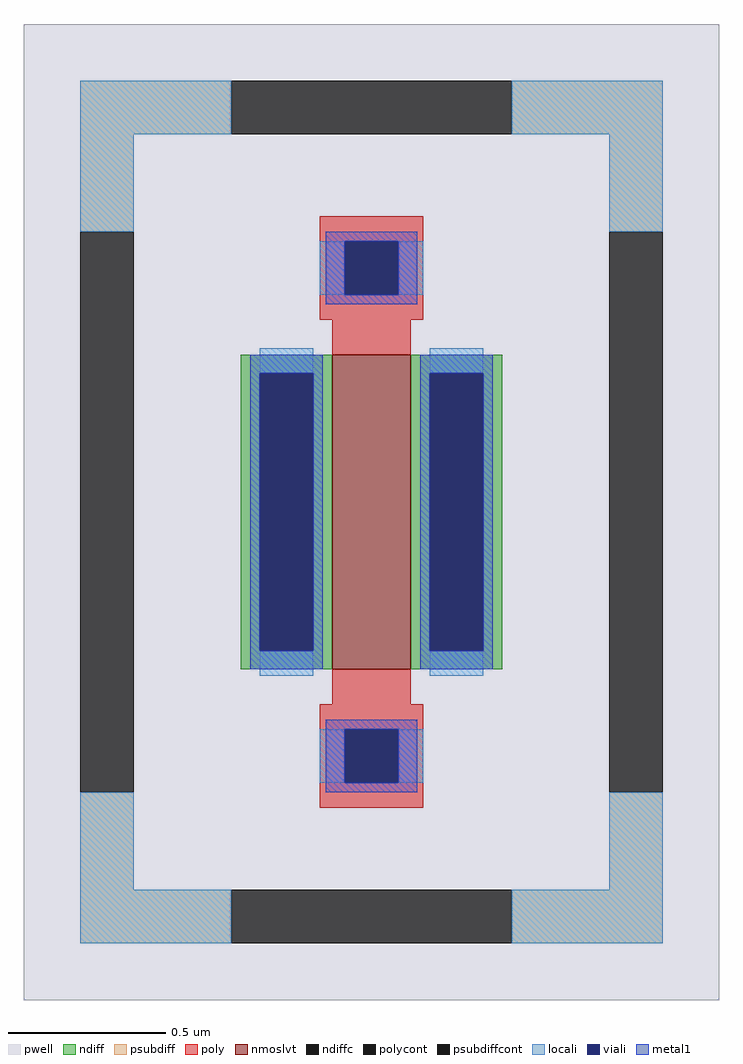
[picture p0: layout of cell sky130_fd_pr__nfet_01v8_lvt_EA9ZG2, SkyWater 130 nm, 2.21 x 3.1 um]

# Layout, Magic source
magic
tech sky130A
magscale 1 2
<< pwell >>
rect -221 -310 221 310
<< nmoslvt >>
rect -25 -100 25 100
<< ndiff >>
rect -83 88 -25 100
rect -83 -88 -71 88
rect -37 -88 -25 88
rect -83 -100 -25 -88
rect 25 88 83 100
rect 25 -88 37 88
rect 71 -88 83 88
rect 25 -100 83 -88
<< ndiffc >>
rect -71 -88 -37 88
rect 37 -88 71 88
<< psubdiff >>
rect -185 240 -89 274
rect 89 240 185 274
rect -185 178 -151 240
rect 151 178 185 240
rect -185 -240 -151 -178
rect 151 -240 185 -178
rect -185 -274 -89 -240
rect 89 -274 185 -240
<< psubdiffcont >>
rect -89 240 89 274
rect -185 -178 -151 178
rect 151 -178 185 178
rect -89 -274 89 -240
<< poly >>
rect -33 172 33 188
rect -33 138 -17 172
rect 17 138 33 172
rect -33 122 33 138
rect -25 100 25 122
rect -25 -122 25 -100
rect -33 -138 33 -122
rect -33 -172 -17 -138
rect 17 -172 33 -138
rect -33 -188 33 -172
<< polycont >>
rect -17 138 17 172
rect -17 -172 17 -138
<< locali >>
rect -185 240 -89 274
rect 89 240 185 274
rect -185 178 -151 240
rect 151 178 185 240
rect -33 138 -17 172
rect 17 138 33 172
rect -71 88 -37 104
rect -71 -104 -37 -88
rect 37 88 71 104
rect 37 -104 71 -88
rect -33 -172 -17 -138
rect 17 -172 33 -138
rect -185 -240 -151 -178
rect 151 -240 185 -178
rect -185 -274 -89 -240
rect 89 -274 185 -240
<< viali >>
rect -17 138 17 172
rect -71 -88 -37 88
rect 37 -88 71 88
rect -17 -172 17 -138
<< metal1 >>
rect -29 172 29 178
rect -29 138 -17 172
rect 17 138 29 172
rect -29 132 29 138
rect -77 88 -31 100
rect -77 -88 -71 88
rect -37 -88 -31 88
rect -77 -100 -31 -88
rect 31 88 77 100
rect 31 -88 37 88
rect 71 -88 77 88
rect 31 -100 77 -88
rect -29 -138 29 -132
rect -29 -172 -17 -138
rect 17 -172 29 -138
rect -29 -178 29 -172
<< properties >>
string FIXED_BBOX -168 -257 168 257
string gencell sky130_fd_pr__nfet_01v8_lvt
string library sky130
string parameters w 1.0 l 0.25 m 1 nf 1 diffcov 100 polycov 100 guard 1 glc 1 grc 1 gtc 1 gbc 1 tbcov 100 rlcov 100 topc 1 botc 1 poverlap 0 doverlap 1 lmin 0.15 wmin 0.42 compatible {sky130_fd_pr__nfet_01v8 sky130_fd_pr__nfet_01v8_lvt  sky130_fd_bs_flash__special_sonosfet_star  sky130_fd_pr__nfet_g5v0d10v5 sky130_fd_pr__nfet_05v0_nvt  sky130_fd_pr__nfet_03v3_nvt} full_metal 1 viasrc 100 viadrn 100 viagate 100 viagb 0 viagr 0 viagl 0 viagt 0
<< end >>
